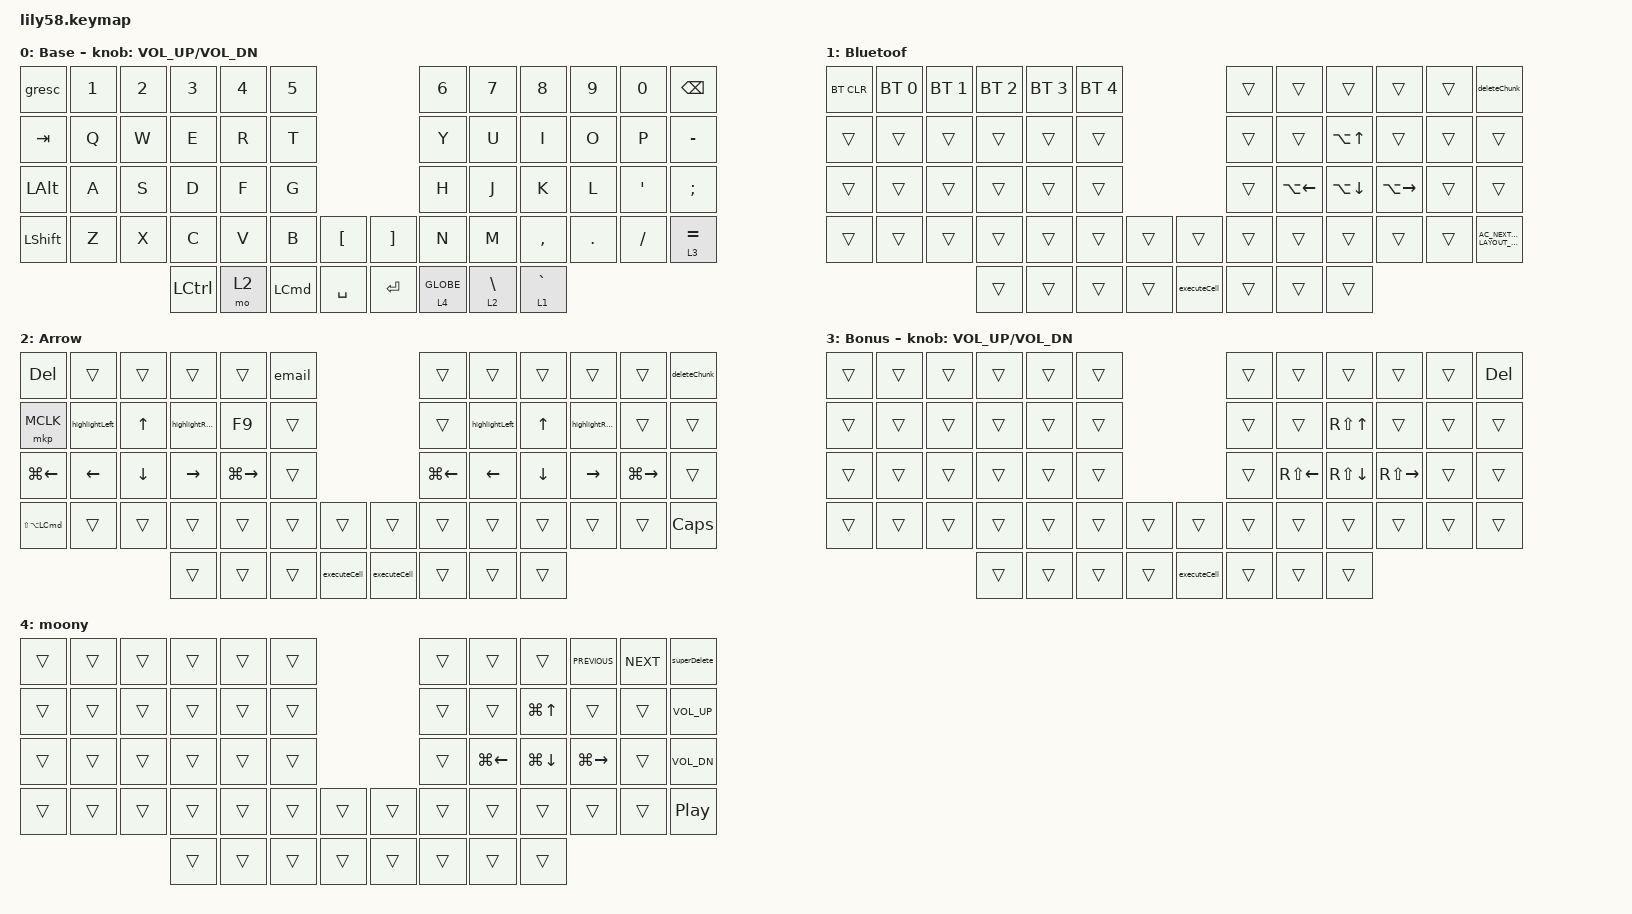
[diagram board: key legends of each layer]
/*
 * Copyright (c) 2020 The ZMK Contributors
 *
 * SPDX-License-Identifier: MIT
 */

#include <behaviors.dtsi>
#include <dt-bindings/zmk/bt.h>
#include <dt-bindings/zmk/keys.h>
#include <dt-bindings/zmk/pointing.h>

/ {
    combos { compatible = "zmk,combos"; };

    macros {
        deskLeft: left {
            compatible = "zmk,behavior-macro";
            #binding-cells = <0>;
            bindings = <&kp LA(Q)>;
            label = "LEFT";
        };

        deskRight: deskRight {
            compatible = "zmk,behavior-macro";
            #binding-cells = <0>;
            bindings = <&kp LA(E)>;
            label = "DESKRIGHT";
        };

        email: email {
            compatible = "zmk,behavior-macro";
            #binding-cells = <0>;
            bindings = <&kp M &kp A &kp T &kp T &kp H &kp E &kp W &kp DOT &kp N &kp G &kp S &kp B &kp AT &kp G &kp M &kp A &kp I &kp L &kp DOT &kp C &kp O &kp M>;
            label = "EMAIL";
        };

        highlightRight: highlightRight {
            compatible = "zmk,behavior-macro";
            #binding-cells = <0>;
            bindings = <&kp LS(LA(RIGHT_ARROW))>;
            label = "HIGHLIGHTRIGHT";
        };

        highlightLeft: highlightLeft {
            compatible = "zmk,behavior-macro";
            #binding-cells = <0>;
            bindings = <&kp LS(LA(LEFT_ARROW))>;
            label = "HIGHLIGHTLEFT";
        };

        deleteChunk: deleteChunk {
            compatible = "zmk,behavior-macro";
            #binding-cells = <0>;
            bindings = <&kp LA(BACKSPACE)>;
            label = "DELETECHUNK";
        };

        fwdDeleteChunk: fwdDeleteChunk {
            compatible = "zmk,behavior-macro";
            #binding-cells = <0>;
            bindings = <&kp LA(DELETE)>;
            label = "FWDDELETECHUNK";
        };

        executeCell: executeCell {
            compatible = "zmk,behavior-macro";
            #binding-cells = <0>;
            bindings = <&kp LS(ENTER)>;
            label = "EXECUTECELL";
        };

        superDelete: superDelete {
            compatible = "zmk,behavior-macro";
            #binding-cells = <0>;
            bindings = <&kp LG(BACKSPACE)>;
            label = "SUPERDELETE";
        };
    };

    behaviors {
        lt_fast: lt_fast {
            compatible = "zmk,behavior-hold-tap";
            label = "LT_FAST";
            bindings = <&mo>, <&kp>;

            #binding-cells = <2>;
            tapping-term-ms = <155>;
            quick-tap-ms = <125>;
            flavor = "balanced";
        };
    };

    keymap {
        compatible = "zmk,keymap";

        default_layer {
            // ------------------------------------------------------------------------------------------------------------
            // |  ESC  |  1  |  2  |  3   |  4   |  5   |                   |  6   |  7    |  8    |  9   |   0   |   `   |
            // |  TAB  |  Q  |  W  |  E   |  R   |  T   |                   |  Y   |  U    |  I    |  O   |   P   |   -   |
            // |  CTRL |  A  |  S  |  D   |  F   |  G   |                   |  H   |  J    |  K    |  L   |   ;   |   '   |
            // | SHIFT |  Z  |  X  |  C   |  V   |  B   |   "["  |  |  "]"  |  N   |  M    |  ,    |  .   |   /   | SHIFT |
            //                     | ALT  | GUI  | LOWER|  SPACE |  | ENTER | RAISE| BSPC  | GUI   |

            display-name = "Base";
            bindings = <
&gresc        &kp N1  &kp N2  &kp N3            &kp N4  &kp N5                                    &kp N6            &kp N7                &kp N8            &kp N9   &kp N0            &kp BACKSPACE
&kp TAB       &kp Q   &kp W   &kp E             &kp R   &kp T                                     &kp Y             &kp U                 &kp I             &kp O    &kp P             &kp MINUS
&kp LEFT_ALT  &kp A   &kp S   &kp D             &kp F   &kp G                                     &kp H             &kp J                 &kp K             &kp L    &kp SINGLE_QUOTE  &kp SEMICOLON
&kp LSHFT     &kp Z   &kp X   &kp C             &kp V   &kp B             &kp LBKT     &kp RBKT   &kp N             &kp M                 &kp COMMA         &kp DOT  &kp FSLH          &lt_fast 3 EQUAL
                              &kp LEFT_CONTROL  &mo 2   &kp LEFT_COMMAND  &kp SPACE    &kp ENTER  &lt_fast 4 GLOBE  &lt_fast 2 BACKSLASH  &lt_fast 1 GRAVE
            >;

            sensor-bindings = <&inc_dec_kp C_VOL_UP C_VOL_DN>;
        };

        Bluetoof {
            // ------------------------------------------------------------------------------------------------------------
            // | BTCLR | BT1 | BT2 |  BT3 |  BT4 |  BT5 |                   |      |       |       |      |       |       |
            // |  F1   |  F2 |  F3 |  F4  |  F5  |  F6  |                   |  F7  |  F8   |  F9   |  F10 |  F11  |  F12  |
            // |   `   |  !  |  @  |  #   |  $   |  %   |                   |  ^   |  &    |  *    |  (   |   )   |   ~   |
            // |       |     |     |      |      |      |        |  |       |      |  _    |  +    |  {   |   }   |  "|"  |
            //                     |      |      |      |        |  |       |      |       |       |

            display-name = "Bluetoof";
            bindings = <
&bt BT_CLR  &bt BT_SEL 0  &bt BT_SEL 1  &bt BT_SEL 2  &bt BT_SEL 3  &bt BT_SEL 4                          &trans  &trans        &trans            &trans         &trans  &deleteChunk
&trans      &trans        &trans        &trans        &trans        &trans                                &trans  &trans        &kp LA(UP_ARROW)  &trans         &trans  &trans
&trans      &trans        &trans        &trans        &trans        &trans                                &trans  &kp LA(LEFT)  &kp LA(DOWN)      &kp LA(RIGHT)  &trans  &trans
&trans      &trans        &trans        &trans        &trans        &trans        &trans    &trans        &trans  &trans        &trans            &trans         &trans  &kp C_AC_NEXT_KEYBOARD_LAYOUT_SELECT
                                        &trans        &trans        &trans        &trans    &executeCell  &trans  &trans        &trans
            >;
        };

        Arrows {
            display-name = "Arrow";
            bindings = <
&kp DELETE                &trans          &trans          &trans           &trans         &email                                &trans              &trans          &trans          &trans           &trans               &deleteChunk
&mkp MCLK                 &highlightLeft  &kp UP_ARROW    &highlightRight  &kp F9         &trans                                &trans              &highlightLeft  &kp UP_ARROW    &highlightRight  &trans               &trans
&kp LG(LEFT_ARROW)        &kp LEFT_ARROW  &kp DOWN_ARROW  &kp RIGHT_ARROW  &kp LG(RIGHT)  &trans                                &kp LG(LEFT_ARROW)  &kp LEFT_ARROW  &kp DOWN_ARROW  &kp RIGHT_ARROW  &kp LG(RIGHT_ARROW)  &trans
&kp LS(LA(LEFT_COMMAND))  &trans          &trans          &trans           &trans         &trans  &trans          &trans        &trans              &trans          &trans          &trans           &trans               &kp CAPSLOCK
                                                          &trans           &trans         &trans  &executeCell    &executeCell  &trans              &trans          &trans
            >;
        };

        Bonus {
            // ------------------------------------------------------------------------------------------------------------
            // |       |     |     |      |      |      |                   |      |       |       |      |       |       |
            // |   `   |  1  |  2  |  3   |  4   |  5   |                   |  6   |   7   |   8   |  9   |   0   |       |
            // |   F1  |  F2 |  F3 |  F4  |  F5  |  F6  |                   |      |   <-  |   v   |  ^   |  ->   |       |
            // |   F7  |  F8 |  F9 |  F10 |  F11 |  F12 |        |  |       |  +   |   -   |   =   |  [   |   ]   |   \   |
            //                     |      |      |      |        |  |       |      |       |       |

            display-name = "Bonus";
            bindings = <
&trans  &trans  &trans  &trans  &trans  &trans                          &trans  &trans              &trans              &trans         &trans  &kp DELETE
&trans  &trans  &trans  &trans  &trans  &trans                          &trans  &trans              &kp RS(UP_ARROW)    &trans         &trans  &trans
&trans  &trans  &trans  &trans  &trans  &trans                          &trans  &kp RS(LEFT_ARROW)  &kp RS(DOWN_ARROW)  &kp RS(RIGHT)  &trans  &trans
&trans  &trans  &trans  &trans  &trans  &trans  &trans    &trans        &trans  &trans              &trans              &trans         &trans  &trans
                        &trans  &trans  &trans  &trans    &executeCell  &trans  &trans              &trans
            >;

            sensor-bindings = <&inc_dec_kp C_VOL_UP C_VOL_DN>;
        };

        moony {
            bindings = <
&trans  &trans  &trans  &trans  &trans  &trans                    &trans  &trans              &trans              &kp C_PREVIOUS       &kp C_NEXT  &superDelete
&trans  &trans  &trans  &trans  &trans  &trans                    &trans  &trans              &kp LG(UP_ARROW)    &trans               &trans      &kp C_VOLUME_UP
&trans  &trans  &trans  &trans  &trans  &trans                    &trans  &kp LG(LEFT_ARROW)  &kp LG(DOWN_ARROW)  &kp LG(RIGHT_ARROW)  &trans      &kp C_VOL_DN
&trans  &trans  &trans  &trans  &trans  &trans  &trans    &trans  &trans  &trans              &trans              &trans               &trans      &kp C_PLAY_PAUSE
                        &trans  &trans  &trans  &trans    &trans  &trans  &trans              &trans
            >;
        };

        extra_1 { status = "reserved"; };

        extra_2 { status = "reserved"; };

        extra_3 { status = "reserved"; };
    };
};
